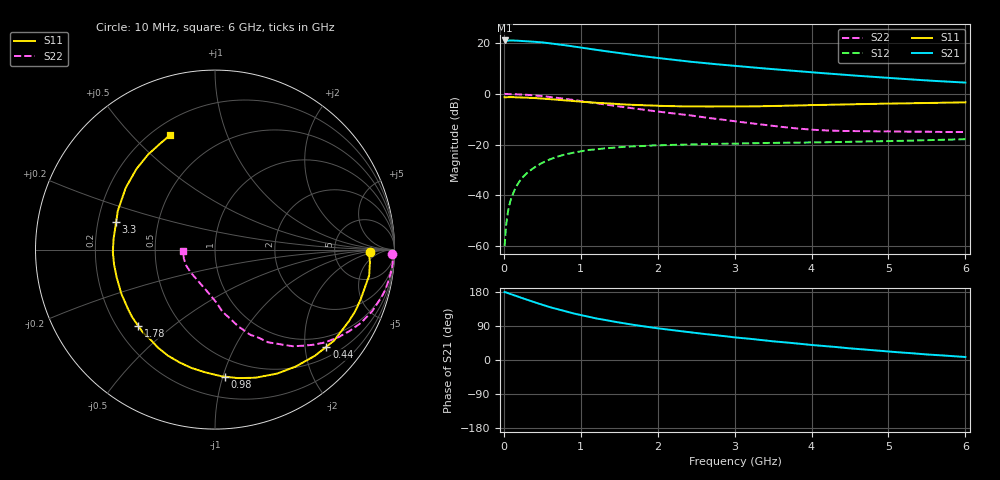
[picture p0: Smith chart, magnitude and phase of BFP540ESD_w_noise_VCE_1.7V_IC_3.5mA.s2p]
! Infineon Technologies  Discrete & RF Semiconductors
! BFP540ESD
! VCE =  1.7 V,  IC =  3.5 mA
! Common Emitter S-Parameters:  Nov 2015
# GHz  S  MA  R  50
!  f  S11  S21  S12  S22
! GHz  MAG  ANG  MAG  ANG  MAG  ANG  MAG  ANG
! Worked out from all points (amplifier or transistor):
!   210 points, 10 MHz to 6 GHz, reference 50 ohm
!   highest |S21| = 21.1 dB at 10 MHz (marker M1)
!   |S21| within 3 dB of that: start of sweep to 1.046 GHz
!   unconditionally stable (mu >= 1): 3.651 GHz to end of sweep
!   at 185 MHz: K = 0.03, MSG = 28.1 dB, |S12| = -35.3 dB
!   at 1.52 GHz: K = 0.39, MSG = 18.5 dB, |S12| = -20.9 dB
!   at 6 GHz: K = 1.28, MAG = 8.0 dB, |S12| = -17.8 dB
!   lowest NFmin = 0.64 dB at 900 MHz
!   S11 on the Smith chart (normalised r, x): 10 MHz: 13, -1; 440 MHz: 0.74, -2.48; 980 MHz: 0.36, -1.01; 1.78 GHz: 0.29, -0.38; 3.3 GHz: 0.28, +0.13; 6 GHz: 0.27, +0.65
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0.01  0.8618 -0.9  11.36 179.2  0.001 108.7  0.9844 -1.3
0.02  0.86 -2.2  11.21 178.9  0.0017 98.2  0.9984 -1.1
0.05  0.866 -4.6  11.31 176.6  0.0044 89.1  0.9937 -2.7
0.12  0.8664 -11.3  11.32 171.8  0.011 85.3  0.9894 -6.5
0.26  0.8518 -24.5  11.08 162.0  0.0241 78.3  0.9721 -14.1
0.44  0.8234 -41.1  10.56 149.8  0.0391 70.2  0.9277 -23.4
0.5  0.8124 -46.7  10.42 145.7  0.0439 67.7  0.9104 -26.6
0.6  0.7917 -55.4  9.961 139.4  0.0515 63.2  0.8759 -31.2
0.7  0.7725 -63.4  9.561 134.0  0.0584 59.3  0.8406 -35.7
0.8  0.7488 -72.4  9.131 128.2  0.0645 55.1  0.8014 -40.2
0.98  0.7098 -85.6  8.312 119.5  0.073 49.0  0.7337 -46.8
1.02  0.7013 -88.6  8.146 117.6  0.0749 47.7  0.719 -48.2
1.2  0.672 -101.4  7.423 109.8  0.0811 42.4  0.6571 -54.0
1.4  0.6465 -113.9  6.734 102.5  0.0872 37.4  0.5952 -60.2
1.78  0.6028 -135.4  5.627 89.8  0.0937 30.4  0.4976 -68.7
2.02  0.5842 -147.1  5.099 83.0  0.0973 27.1  0.4473 -73.2
2.6  0.5686 -171.5  4.072 68.8  0.1025 21.1  0.3453 -83.5
3.1  0.5677 170.9  3.473 57.9  0.1058 17.9  0.2778 -91.3
3.3  0.5719 164.5  3.27 53.8  0.1073 16.6  0.2552 -95.9
4.1  0.6075 143.0  2.609 38.0  0.1112 12.7  0.1941 -122.1
5.1  0.6502 123.6  2.031 20.8  0.1186 9.9  0.1821 -153.3
6  0.6849 111.5  1.678 7.9  0.1285 8.3  0.178 -176.6
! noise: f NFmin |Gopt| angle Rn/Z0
0.9  0.64  0.22  44  0.14
1.8  0.9  0.18  97  0.12
2.4  0.92  0.21  112  0.1
3  1.1  0.26  147  0.09
4  1.35  0.28  -137  0.14
5  1.65  0.41  -105  0.31
6  1.85  0.54  -104  0.47
